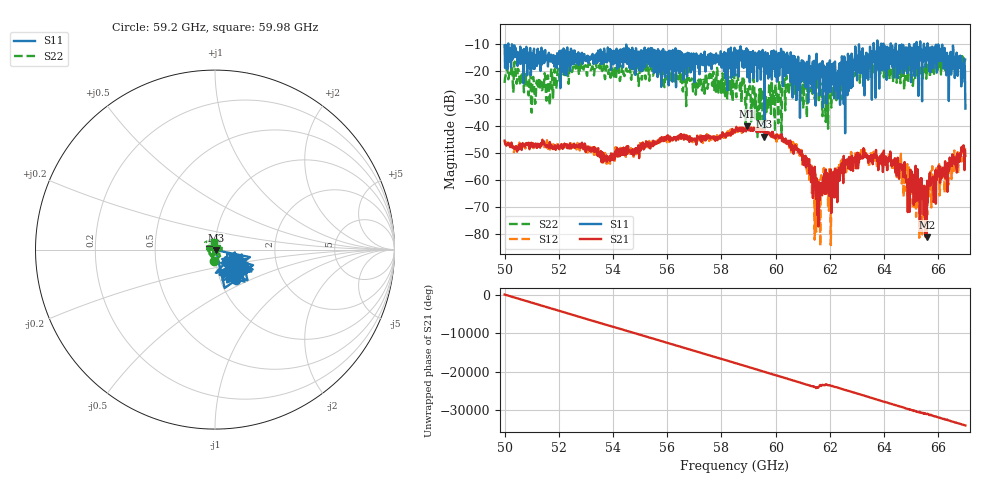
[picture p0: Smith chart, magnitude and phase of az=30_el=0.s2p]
!Created with skrf (http://scikit-rf.org).
# GHz S RI R 50.0
!freq ReS11 ImS11 ReS21 ImS21 ReS12 ImS12 ReS22 ImS22
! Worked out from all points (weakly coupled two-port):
!   1001 points, 50 GHz to 67 GHz, reference 50 ohm
!   highest |S21| = -40.18 dB at 58.94 GHz (marker M1); lowest = -81.2 dB at 65.57 GHz (marker M2)
!   lowest |S11| = -44.1 dB at 59.59 GHz (marker M3), VSWR 1.01, Z = 50.5 - j0.316 ohm
!   |S11| at or under -10 dB: 50.27 GHz to 63.62 GHz (13.34 GHz wide, 23.4 % of centre); 64.43 GHz to 64.93 GHz (492.2 MHz wide, 0.761 % of centre); 65.61 GHz to end of sweep (the widest 3 of 15)
!   |S22| runs from -44.2 to -14.2 dB; largest |S21 - S12| = 0.0025
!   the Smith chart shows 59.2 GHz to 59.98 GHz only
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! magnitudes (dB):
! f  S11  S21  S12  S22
! 50 GHz  -10.3  -45.5  -46.2  -24.2
! 50.44 GHz  -12.6  -47.9  -46.7  -24.5
! 51.05 GHz  -19.0  -46.5  -47.8  -22.0
! 52.84 GHz  -14.3  -47.9  -48.7  -18.5
! 53.81 GHz  -11.2  -51.9  -51.4  -20.0
! 55.68 GHz  -13.7  -45.2  -45.7  -21.0
! 58.5 GHz  -21.5  -42.6  -41.6  -25.6
! 58.94 GHz  -13.1  -40.2  -41.2  -27.5
! 59.59 GHz  -44.1  -41.3  -42.0  -27.6
! 60.64 GHz  -14.2  -47.8  -46.0  -23.4
! 61.34 GHz  -26.3  -55.3  -64.9  -26.2
! 61.56 GHz  -21.3  -61.0  -68.2  -23.6
! 61.75 GHz  -33.2  -59.2  -63.7  -26.2
! 61.95 GHz  -17.2  -58.0  -62.4  -25.5
! 62.5 GHz  -19.7  -61.1  -54.3  -21.6
! 64.18 GHz  -18.9  -51.5  -50.6  -18.7
! 64.82 GHz  -13.4  -61.0  -55.4  -17.2
! 65.37 GHz  -12.0  -65.0  -70.1  -20.0
! 65.57 GHz  -16.1  -81.2  -65.2  -20.5
! 65.72 GHz  -12.5  -60.6  -56.8  -16.2
! 66.75 GHz  -18.8  -50.7  -54.1  -17.5
! 67 GHz  -33.7  -51.1  -48.2  -15.2
